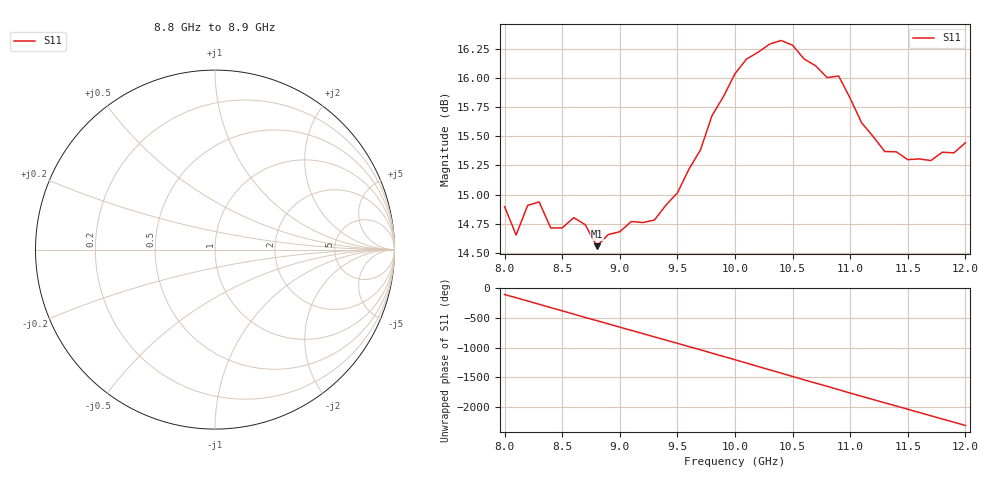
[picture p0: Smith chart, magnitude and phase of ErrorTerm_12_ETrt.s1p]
!  1-Port S-parameters saved by WinCal
! VAR NAME=2-Port SOLT labuser 3
! VAR Error Term Name=ETrt phys rcv port 1 phys src port 2
# Hz S RI R 50
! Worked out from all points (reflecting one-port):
!   41 points, 8 GHz to 12 GHz, reference 50 ohm
!   lowest |S11| = 14.6 dB at 8.8 GHz (marker M1)
!   phase of S11 starts at -105 deg and turns -2207 deg over the sweep
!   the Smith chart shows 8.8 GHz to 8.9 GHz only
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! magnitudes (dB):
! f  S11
! 8 GHz  14.9
! 8.1 GHz  14.7
! 8.2 GHz  14.9
! 8.3 GHz  14.9
! 8.4 GHz  14.7
! 8.5 GHz  14.7
! 8.6 GHz  14.8
! 8.7 GHz  14.7
! 8.8 GHz  14.6
! 8.9 GHz  14.7
! 9 GHz  14.7
! 9.1 GHz  14.8
! 9.3 GHz  14.8
! 9.5 GHz  15.0
! 9.7 GHz  15.4
! 9.8 GHz  15.7
! 10 GHz  16.0
! 10.1 GHz  16.2
! 10.3 GHz  16.3
! 10.5 GHz  16.3
! 10.8 GHz  16.0
! 10.9 GHz  16.0
! 11 GHz  15.8
! 11.1 GHz  15.6
! 11.3 GHz  15.4
! 11.5 GHz  15.3
! 11.7 GHz  15.3
! 12 GHz  15.4
